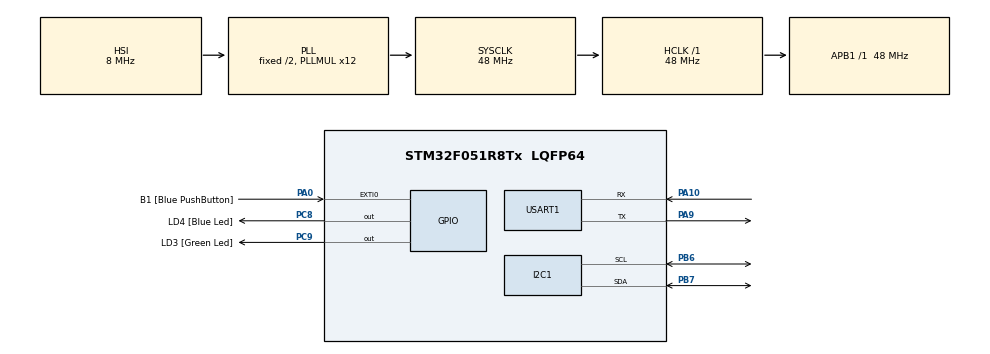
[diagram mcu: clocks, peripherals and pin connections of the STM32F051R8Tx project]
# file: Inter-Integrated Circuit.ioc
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Mcu.Family=STM32F0
Mcu.Name=STM32F051R8Tx
Mcu.Package=LQFP64
PA0.GPIO_Label=B1 [Blue PushButton]
PA0.GPIO_ModeDefaultEXTI=GPIO_MODE_EVT_RISING
PA0.Signal=GPXTI0
PA10.Mode=Asynchronous
PA10.Signal=USART1_RX
PA13.GPIO_Label=SWDIO
PA13.Mode=Serial_Wire
PA13.Signal=SYS_SWDIO
PA14.GPIO_Label=SWCLK
PA14.Mode=Serial_Wire
PA14.Signal=SYS_SWCLK
PA9.Mode=Asynchronous
PA9.Signal=USART1_TX
PB6.GPIO_Pu=GPIO_PULLUP
PB6.Mode=I2C
PB6.Signal=I2C1_SCL
PB7.GPIO_Pu=GPIO_PULLUP
PB7.Mode=I2C
PB7.Signal=I2C1_SDA
PC8.GPIO_Label=LD4 [Blue Led]
PC8.Signal=GPIO_Output
PC9.GPIO_Label=LD3 [Green Led]
PC9.Signal=GPIO_Output
ProjectManager.HeapSize=0x200
ProjectManager.StackSize=0x400
ProjectManager.TargetToolchain=STM32CubeIDE
RCC.AHBFreq_Value=48000000
RCC.APB1Freq_Value=48000000
RCC.APB1TimFreq_Value=48000000
RCC.HCLKFreq_Value=48000000
RCC.PLLMUL=RCC_PLL_MUL12
RCC.SYSCLKFreq_VALUE=48000000
RCC.SYSCLKSource=RCC_SYSCLKSOURCE_PLLCLK
USART1.VirtualMode-Asynchronous=VM_ASYNC
board=STM32F0DISCOVERY

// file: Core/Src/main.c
/* USER CODE BEGIN Header */
/**
  ******************************************************************************
  * @file           : main.c
  * @brief          : Main program body
  ******************************************************************************
  * @attention
  *
  * Copyright (c) 2024 STMicroelectronics.
  * All rights reserved.
  *
  * This software is licensed under terms that can be found in the LICENSE file
  * in the root directory of this software component.
  * If no LICENSE file comes with this software, it is provided AS-IS.
  *
  ******************************************************************************
  */
/* USER CODE END Header */
#include "main.h"

I2C_HandleTypeDef hi2c1;

UART_HandleTypeDef huart1;

/* USER CODE BEGIN PV */
// Addresses of the temperature sensors
static const uint8_t tempAddress1 = 0x48 << 1;
static const uint8_t tempAddress2 = 0x49 << 1;
static const uint8_t tempAddress3 = 0x4A << 1;
static const uint8_t tempAddress4 = 0x4B << 1;
// Address of temperature register
static const REG_TEMP = 0x00;
/* USER CODE END PV */

void SystemClock_Config(void);
static void MX_GPIO_Init(void);
static void MX_I2C1_Init(void);
static void MX_USART1_UART_Init(void);
/* USER CODE BEGIN PFP */
// Prototype declaration for function used for reusability
void recieveTemperatures(uint8_t, char*);
/* USER CODE END PFP */

int main(void)
{

  /* MCU Configuration--------------------------------------------------------*/

  /* Reset of all peripherals, Initializes the Flash interface and the Systick. */
  HAL_Init();

  /* Configure the system clock */
  SystemClock_Config();

  /* Initialize all configured peripherals */
  MX_GPIO_Init();
  MX_I2C1_Init();
  MX_USART1_UART_Init();
  /* USER CODE BEGIN 2 */
  // Used to check if we were able to communicate properly
  // Error Handling
  HAL_StatusTypeDef ret;
  // Used when combining the two bytes of temperature data from the temperature sensors
  int16_t val;
  // Used to hold the the actual temperature value after conversions in decimal
  float temp;
  // Buffer size 100 to be able to hold entire length of string being transmitted back over UART with no concern of buffer overflow
  char buffer[100];

  /**
   * @brief Receives temperature data from an I2C temperature sensor and converts it to a human-readable format.
   *
   * This function communicates with a temperature sensor over I2C to read the temperature data. The raw data is
   * processed and converted to Celsius. The integer and fraction parts of the temperature are returned separately
   * via pointers. This is a helper function used to simplify code / increase reusability among having the same
   * request from all 4 temperature sensors
   *
   * @param address The address of the temperature sensor.
   * @param buffer A pointer to a buffer used for I2C communication.
   * @param integer A pointer to an unsigned int where the integer part of the temperature will be stored.
   * @param fraction A pointer to an unsigned int where the fractional part of the temperature will be stored.
   */
  void recieveTemperatures(uint8_t address, char* buffer, unsigned int *integer, unsigned int *fraction) {
	  // Set first byte in buffer to the location of the temperature register
	  buffer[0] = REG_TEMP;
	  // Tell sensor we want to read from the temperature register
	  ret = HAL_I2C_Master_Transmit(&hi2c1, address, buffer, 1, HAL_MAX_DELAY);
	  // Error Handling. Some error during transmitting.
	  if ( ret != HAL_OK ) {
	  	strcpy((char*)buffer, "Error Tx\r\n");
	  	*integer = 0;
	  	*fraction = 0;
	  } else {
	  	// Read 2 bytes (of temperature data) from the temperature register
	  	ret = HAL_I2C_Master_Receive(&hi2c1, address, buffer, 2, HAL_MAX_DELAY);
	  	// Error Handling. Some error during receiving.
	    if ( ret != HAL_OK ) {
	 	  strcpy((char*)buffer, "Error Rx\r\n");
	 	 *integer = 0;
	 	 *fraction = 0;
 		} else {
 			// Combine bytes into 12 bit value
	  		val = ((int16_t)buffer[0] << 5) | (buffer[1] >> 3);
	  		// If temperature is negative, convert to 2s complement
	  		if ( val > 0x7FF ) {
	  			val |= 0xF000;
	  		}
	  		// Convert to Celsius as a float
	  		temp = val * 0.0625;
	  		// Convert to decimal format ( a string format)
	  		temp = temp * 100;
	  		// Return the integer portion of the temperature
	  		*integer = (unsigned int)temp / 100;
	  		// Return the fraction portion of the temperature
	  		*fraction = (unsigned int)temp % 100;
	  	 }
	  }
  }
  /* USER CODE END 2 */

  /* Infinite loop */
  while (1)
  {

    /* USER CODE BEGIN 3 */
	  // Create variable for the integer and fraction portions for all temperature data to be read
	  unsigned int integer1, integer2, integer3, integer4;
	  unsigned int fraction1, fraction2, fraction3, fraction4;
	  // Call the helper function to collect and formulate temperature data from all 4 sensors
	  recieveTemperatures(tempAddress1, buffer, &integer1, &fraction1);
	  recieveTemperatures(tempAddress2, buffer, &integer2, &fraction2);
	  recieveTemperatures(tempAddress3, buffer, &integer3, &fraction3);
	  recieveTemperatures(tempAddress4, buffer, &integer4, &fraction4);
	  // Format the temperature data into a string to be put into the buffer
	  snprintf(buffer, sizeof(buffer), "1)%u.%02u C 2)%u.%02u C 3)%u.%02u C 4)%u.%02u C\r\n",
			  integer1, fraction1, integer2, fraction2, integer3, fraction3, integer4, fraction4);
	  // Send out buffer ( or error message ) through UART. Can see result through PuTTY
	  HAL_UART_Transmit(&huart1, (uint8_t*)buffer, strlen(buffer), 1000);
	  // Repeat every half second
	  HAL_Delay(500);
  }
  /* USER CODE END 3 */
}

void SystemClock_Config(void)
{
  RCC_OscInitTypeDef RCC_OscInitStruct = {0};
  RCC_ClkInitTypeDef RCC_ClkInitStruct = {0};
  RCC_PeriphCLKInitTypeDef PeriphClkInit = {0};

  /** Initializes the RCC Oscillators according to the specified parameters
  * in the RCC_OscInitTypeDef structure.
  */
  RCC_OscInitStruct.OscillatorType = RCC_OSCILLATORTYPE_HSI;
  RCC_OscInitStruct.HSIState = RCC_HSI_ON;
  RCC_OscInitStruct.HSICalibrationValue = RCC_HSICALIBRATION_DEFAULT;
  RCC_OscInitStruct.PLL.PLLState = RCC_PLL_ON;
  RCC_OscInitStruct.PLL.PLLSource = RCC_PLLSOURCE_HSI;
  RCC_OscInitStruct.PLL.PLLMUL = RCC_PLL_MUL12;
  RCC_OscInitStruct.PLL.PREDIV = RCC_PREDIV_DIV1;
  if (HAL_RCC_OscConfig(&RCC_OscInitStruct) != HAL_OK)
  {
    Error_Handler();
  }

  /** Initializes the CPU, AHB and APB buses clocks
  */
  RCC_ClkInitStruct.ClockType = RCC_CLOCKTYPE_HCLK|RCC_CLOCKTYPE_SYSCLK
                              |RCC_CLOCKTYPE_PCLK1;
  RCC_ClkInitStruct.SYSCLKSource = RCC_SYSCLKSOURCE_PLLCLK;
  RCC_ClkInitStruct.AHBCLKDivider = RCC_SYSCLK_DIV1;
  RCC_ClkInitStruct.APB1CLKDivider = RCC_HCLK_DIV1;

  if (HAL_RCC_ClockConfig(&RCC_ClkInitStruct, FLASH_LATENCY_1) != HAL_OK)
  {
    Error_Handler();
  }
  PeriphClkInit.PeriphClockSelection = RCC_PERIPHCLK_USART1|RCC_PERIPHCLK_I2C1;
  PeriphClkInit.Usart1ClockSelection = RCC_USART1CLKSOURCE_PCLK1;
  PeriphClkInit.I2c1ClockSelection = RCC_I2C1CLKSOURCE_HSI;
  if (HAL_RCCEx_PeriphCLKConfig(&PeriphClkInit) != HAL_OK)
  {
    Error_Handler();
  }
}

static void MX_I2C1_Init(void)
{

  hi2c1.Instance = I2C1;
  hi2c1.Init.Timing = 0x2000090E;
  hi2c1.Init.OwnAddress1 = 0;
  hi2c1.Init.AddressingMode = I2C_ADDRESSINGMODE_7BIT;
  hi2c1.Init.DualAddressMode = I2C_DUALADDRESS_DISABLE;
  hi2c1.Init.OwnAddress2 = 0;
  hi2c1.Init.OwnAddress2Masks = I2C_OA2_NOMASK;
  hi2c1.Init.GeneralCallMode = I2C_GENERALCALL_DISABLE;
  hi2c1.Init.NoStretchMode = I2C_NOSTRETCH_DISABLE;
  if (HAL_I2C_Init(&hi2c1) != HAL_OK)
  {
    Error_Handler();
  }

  /** Configure Analogue filter
  */
  if (HAL_I2CEx_ConfigAnalogFilter(&hi2c1, I2C_ANALOGFILTER_ENABLE) != HAL_OK)
  {
    Error_Handler();
  }

  /** Configure Digital filter
  */
  if (HAL_I2CEx_ConfigDigitalFilter(&hi2c1, 0) != HAL_OK)
  {
    Error_Handler();
  }

}

static void MX_USART1_UART_Init(void)
{

  huart1.Instance = USART1;
  huart1.Init.BaudRate = 115200;
  huart1.Init.WordLength = UART_WORDLENGTH_8B;
  huart1.Init.StopBits = UART_STOPBITS_1;
  huart1.Init.Parity = UART_PARITY_NONE;
  huart1.Init.Mode = UART_MODE_TX_RX;
  huart1.Init.HwFlowCtl = UART_HWCONTROL_NONE;
  huart1.Init.OverSampling = UART_OVERSAMPLING_16;
  huart1.Init.OneBitSampling = UART_ONE_BIT_SAMPLE_DISABLE;
  huart1.AdvancedInit.AdvFeatureInit = UART_ADVFEATURE_NO_INIT;
  if (HAL_UART_Init(&huart1) != HAL_OK)
  {
    Error_Handler();
  }

}

static void MX_GPIO_Init(void)
{
  GPIO_InitTypeDef GPIO_InitStruct = {0};

  /* GPIO Ports Clock Enable */
  __HAL_RCC_GPIOA_CLK_ENABLE();
  __HAL_RCC_GPIOC_CLK_ENABLE();
  __HAL_RCC_GPIOB_CLK_ENABLE();

  /*Configure GPIO pin Output Level */
  HAL_GPIO_WritePin(GPIOC, LD4_Pin|LD3_Pin, GPIO_PIN_RESET);

  /*Configure GPIO pin : B1_Pin */
  GPIO_InitStruct.Pin = B1_Pin;
  GPIO_InitStruct.Mode = GPIO_MODE_EVT_RISING;
  GPIO_InitStruct.Pull = GPIO_NOPULL;
  HAL_GPIO_Init(B1_GPIO_Port, &GPIO_InitStruct);

  /*Configure GPIO pins : LD4_Pin LD3_Pin */
  GPIO_InitStruct.Pin = LD4_Pin|LD3_Pin;
  GPIO_InitStruct.Mode = GPIO_MODE_OUTPUT_PP;
  GPIO_InitStruct.Pull = GPIO_NOPULL;
  GPIO_InitStruct.Speed = GPIO_SPEED_FREQ_LOW;
  HAL_GPIO_Init(GPIOC, &GPIO_InitStruct);

}

void Error_Handler(void)
{
  __disable_irq();
  while (1)
  {
  }
}
